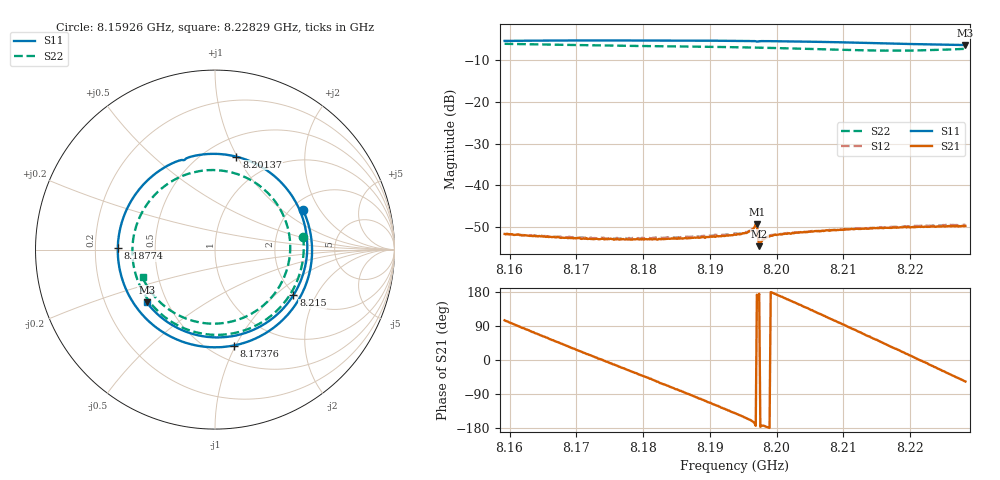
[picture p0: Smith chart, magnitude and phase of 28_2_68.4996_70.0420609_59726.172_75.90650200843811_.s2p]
#  HZ  S  RI  R  50.00
! Rohde & Schwarz Vector Network Analyzer
! Rohde-Schwarz,ZNB20-2Port,1311601062101988,3.16
! Created: UTC 3/20/2024, 5:04:58 PM
! freq[Hz]  re:S11  im:S11  re:S21  im:S21  re:S12  im:S12  re:S22  im:S22
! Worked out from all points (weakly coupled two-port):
!   401 points, 8.15926 GHz to 8.22829 GHz, reference 50 ohm
!   highest |S21| = -49.34 dB at 8.19706 GHz (marker M1); lowest = -54.6 dB at 8.1974 GHz (marker M2)
!   lowest |S11| = -6.4 dB at 8.22829 GHz (marker M3), VSWR 2.85, Z = 19.3 - j14.7 ohm
!   |S11| at or under -10 dB: nowhere
!   |S22| runs from -7.7 to -6.1 dB; largest |S21 - S12| = 0.00023
!   S11 on the Smith chart (normalised r, x): 8.15926 GHz: 2.30, +1.43; 8.17376 GHz: 0.65, -0.98; 8.18774 GHz: 0.30, +0.01; 8.20137 GHz: 0.69, +0.99; 8.215 GHz: 1.95, -1.33; 8.22829 GHz: 0.39, -0.29
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8.15926e9  0.4897 0.222  -0.000659 0.00252  -0.000649 0.00249  0.4911 0.0716
8.164956e9  0.5207 -0.1514  0.00111 0.00218  0.00113 0.00219  0.4153 -0.255
8.170824e9  0.2883 -0.4616  0.00212 0.000834  0.0022 0.000867  0.1458 -0.4557
8.173757e9  0.1035 -0.5344  0.00228 4.88e-05  0.00236 2.75e-05  -0.021 -0.4741
8.177899e9  -0.1766 -0.5147  0.00199 -0.00104  0.00208 -0.00108  -0.2428 -0.4018
8.182387e9  -0.4259 -0.3373  0.00117 -0.00196  0.00117 -0.00206  -0.4105 -0.2177
8.187737e9  -0.5416 0.00918  -0.000274 -0.00235  -0.000324 -0.0024  -0.4534 0.0719
8.190671e9  -0.4986 0.2088  -0.00112 -0.00215  -0.00122 -0.00222  -0.397 0.224
8.193777e9  -0.375 0.3869  -0.00197 -0.00164  -0.00209 -0.00164  -0.2825 0.3526
8.196711e9  -0.1985 0.4965  -0.00307 -0.000711  -0.00318 -0.000576  -0.1362 0.4261
8.197056e9  -0.1739 0.4984  -0.00338 0.000457  -0.00343 0.000605  -0.1172 0.4308
8.197401e9  -0.1602 0.5079  -0.00185 0.000171  -0.00192 0.000264  -0.0984 0.435
8.197747e9  -0.1357 0.5173  -0.00211 -0.000233  -0.00216 -0.000168  -0.0792 0.4385
8.201371e9  0.1196 0.5178  -0.00251 0.000798  -0.0025 0.000913  0.1245 0.4208
8.20534e9  0.3616 0.3815  -0.00186 0.00208  -0.0018 0.00219  0.3136 0.2949
8.210345e9  0.5118 0.0658  -4.13e-05 0.00295  5.19e-05 0.00297  0.4191 0.0221
8.215005e9  0.4368 -0.2543  0.00184 0.00247  0.00193 0.00242  0.3303 -0.247
8.216903e9  0.3492 -0.359  0.00247 0.00186  0.00257 0.00182  0.2435 -0.3313
8.219665e9  0.1787 -0.461  0.00306 0.000829  0.00315 0.000724  0.08 -0.4036
8.222426e9  -0.0181 -0.4883  0.00315 -0.00043  0.00325 -0.000563  -0.1028 -0.402
8.225187e9  -0.2098 -0.4364  0.00276 -0.00163  0.00278 -0.00181  -0.2718 -0.3224
8.228294e9  -0.3803 -0.2934  0.00178 -0.00272  0.00169 -0.00287  -0.4038 -0.1551
